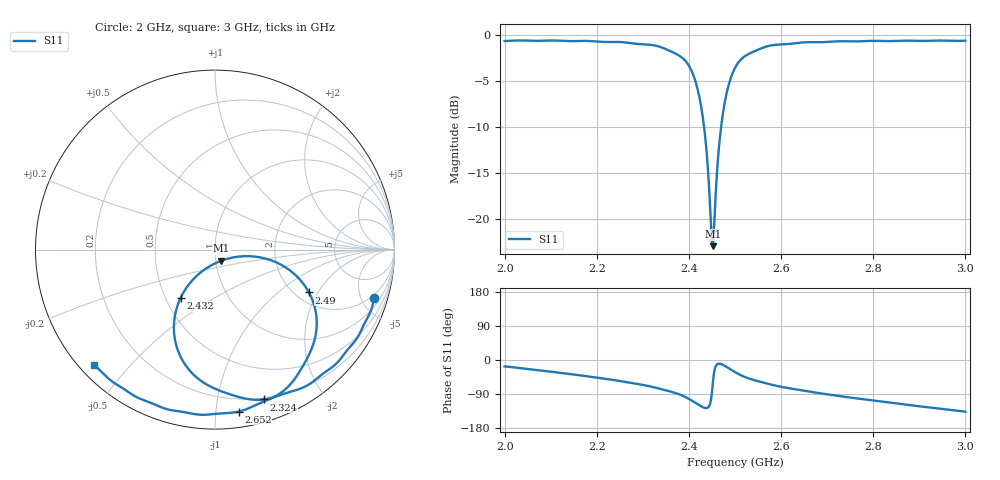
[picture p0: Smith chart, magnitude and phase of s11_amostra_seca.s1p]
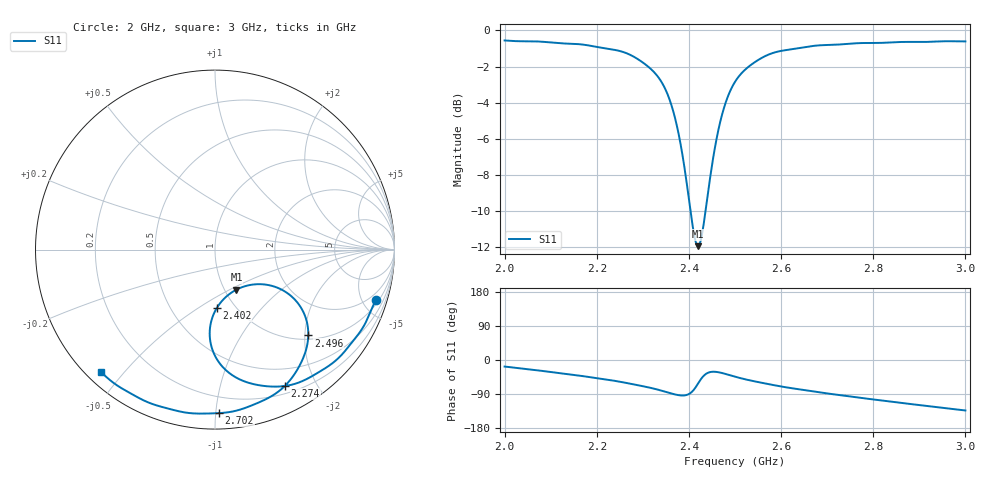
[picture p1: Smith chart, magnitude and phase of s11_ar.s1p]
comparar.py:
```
"""Compara o S11 medido no VNA com o simulado.

Uso (no openEMS Lab ou em qualquer Python com numpy e matplotlib):

    python comparar.py ar.s1p                          # etapa 1: antena no ar
    python comparar.py --amostra seca.s1p              # etapa 2: sobre a amostra seca
    python comparar.py --umidade seca.s1p umida.s1p    # estima a água na amostra úmida

O script lê arquivos Touchstone de 1 porta (.s1p) em qualquer formato (RI, MA ou DB;
Hz, kHz, MHz ou GHz), mostra a ressonância, o |S11| mínimo e a faixa de -10 dB de
cada curva e grava o gráfico comparar.png na pasta atual.

Na etapa 1, ele também estima a permissividade do FR-4 da sua placa pela diferença
de frequência: a ressonância do patch varia com 1/raiz(er), então
er_placa ~ er_sim * (f_sim / f_medida)^2. A conta vale se as dimensões estiverem certas.

Com --umidade, a referência é a SUA medição da amostra seca, e não a simulação. O
deslocamento medido (úmida menos seca) entra na curva de calibração simulada
(resultados/calibracao_umidade.csv) e dá a fração de água. Como as duas medições usam
a mesma placa, o erro do er do FR-4 quase se cancela.
"""

import argparse
import csv
import sys
from pathlib import Path

import numpy as np

AQUI = Path(__file__).resolve().parent
RESULTADOS = AQUI / "resultados"
ER_SIMULADO = 4.4


def ler_s1p(arquivo):
    """Lê um Touchstone de 1 porta. Retorna (f em GHz, S11 complexo)."""
    escala = {"HZ": 1e-9, "KHZ": 1e-6, "MHZ": 1e-3, "GHZ": 1.0}
    unidade, formato = "GHZ", "MA"
    f, s = [], []
    for linha in Path(arquivo).read_text(encoding="utf-8", errors="replace").splitlines():
        linha = linha.split("!")[0].strip()
        if not linha:
            continue
        if linha.startswith("#"):
            for p in linha[1:].upper().split():
                if p in escala:
                    unidade = p
                elif p in ("RI", "MA", "DB"):
                    formato = p
            continue
        v = [float(x) for x in linha.split()[:3]]
        if len(v) < 3:
            continue
        f.append(v[0] * escala[unidade])
        if formato == "RI":
            s.append(complex(v[1], v[2]))
        else:
            mod = 10 ** (v[1] / 20) if formato == "DB" else v[1]
            s.append(mod * np.exp(1j * np.deg2rad(v[2])))
    if not f:
        raise ValueError(f"{arquivo}: nenhum ponto lido. É um arquivo .s1p?")
    return np.array(f), np.array(s)


def analisar(f, s11):
    """Ressonância (GHz), |S11| mínimo (dB) e faixa de -10 dB (GHz) ou None."""
    db = 20 * np.log10(np.abs(s11))
    i = int(np.argmin(db))
    fres = f[i]
    if 0 < i < len(db) - 1:  # parábola pelos três pontos em volta do mínimo
        a, b, c = db[i - 1], db[i], db[i + 1]
        if a - 2 * b + c > 0:
            fres = f[i] + 0.5 * (a - c) / (a - 2 * b + c) * (f[i + 1] - f[i])
    faixa = None
    if db[i] < -10:
        j1, j2 = i, i
        while j1 > 0 and db[j1 - 1] < -10:
            j1 -= 1
        while j2 < len(db) - 1 and db[j2 + 1] < -10:
            j2 += 1
        f1 = np.interp(-10, [db[j1], db[j1 - 1]], [f[j1], f[j1 - 1]]) if j1 > 0 else f[0]
        f2 = np.interp(-10, [db[j2], db[j2 + 1]], [f[j2], f[j2 + 1]]) if j2 < len(db) - 1 else f[-1]
        faixa = (float(f1), float(f2))
    return float(fres), float(db[i]), faixa


def texto(nome, fres, smin, faixa):
    largura = f"{(faixa[1] - faixa[0]) * 1e3:.0f} MHz ({faixa[0]:.3f} a {faixa[1]:.3f} GHz)" if faixa \
        else "não chega a -10 dB"
    return f"{nome:>24}: ressonância {fres:.3f} GHz, |S11| mínimo {smin:.1f} dB, faixa -10 dB: {largura}"


def ler_calibracao():
    with open(RESULTADOS / "calibracao_umidade.csv", encoding="utf-8") as fh:
        linhas = list(csv.DictReader(fh))
    agua = np.array([float(r["agua_pct_volume"]) for r in linhas])
    desloc = np.array([float(r["delta_f0_MHz"]) for r in linhas])
    return agua, desloc


def main(argv):
    import matplotlib
    if not hasattr(sys, "ps1"):
        matplotlib.use("Agg")
    import matplotlib.pyplot as plt

    ap = argparse.ArgumentParser(description="Compara o S11 medido com o simulado.")
    modo = ap.add_mutually_exclusive_group()
    modo.add_argument("--amostra", action="store_true",
                      help="compara com a simulação sobre a amostra seca")
    modo.add_argument("--umidade", action="store_true",
                      help="o primeiro arquivo é a amostra seca; estima a água nos outros")
    ap.add_argument("arquivos", nargs="+", help="arquivos .s1p medidos")
    args = ap.parse_args(argv)

    fig, ax = plt.subplots(figsize=(8, 4.8))
    if args.umidade:
        if len(args.arquivos) < 2:
            ap.error("--umidade precisa da amostra seca e de pelo menos uma amostra úmida")
        agua, desloc = ler_calibracao()
        f, s = ler_s1p(args.arquivos[0])
        f_seca, smin, faixa = analisar(f, s)
        print(texto("seca (referência)", f_seca, smin, faixa))
        ax.plot(f, 20 * np.log10(np.abs(s)), "k", lw=2, label=f"seca: {Path(args.arquivos[0]).stem}")
        for arquivo in args.arquivos[1:]:
            f, s = ler_s1p(arquivo)
            fres, smin, faixa = analisar(f, s)
            nome = Path(arquivo).stem
            print(texto(nome, fres, smin, faixa))
            d = 1e3 * (fres - f_seca)
            # a curva simulada desce com a água; np.interp precisa de x crescente
            if d > 0 or d < desloc.min():
                estimativa = "fora da faixa simulada (0 a {:g} %)".format(agua.max())
            else:
                estimativa = f"cerca de {np.interp(d, desloc[::-1], agua[::-1]):.1f} % de água (volume)"
            print(f"{'':>24}  deslocamento {d:+.0f} MHz -> {estimativa}")
            ax.plot(f, 20 * np.log10(np.abs(s)), lw=1.5, label=f"medido: {nome}")
        ax.set_xlim(f[0], f[-1])
        titulo = "S11 medido: amostra seca e úmida"
    else:
        sim = RESULTADOS / ("s11_amostra_seca.s1p" if args.amostra else "s11_ar.s1p")
        fs, ss = ler_s1p(sim)
        fres_sim, smin, faixa = analisar(fs, ss)
        print(texto("simulado", fres_sim, smin, faixa))
        ax.plot(fs, 20 * np.log10(np.abs(ss)), "k", lw=2, label="simulado")
        for arquivo in args.arquivos:
            f, s = ler_s1p(arquivo)
            fres, smin, faixa = analisar(f, s)
            nome = Path(arquivo).stem
            print(texto(nome, fres, smin, faixa))
            linha = (f"{'':>24}  diferença {1e3 * (fres - fres_sim):+.0f} MHz "
                     f"({100 * (fres / fres_sim - 1):+.1f} %)")
            if not args.amostra:
                linha += f"; er estimado do FR-4: {ER_SIMULADO * (fres_sim / fres) ** 2:.2f}"
            print(linha)
            ax.plot(f, 20 * np.log10(np.abs(s)), lw=1.5, label=f"medido: {nome}")
        ax.set_xlim(fs[0], fs[-1])
        titulo = "S11 sobre a amostra seca: medido x simulado" if args.amostra \
            else "S11 no ar: medido x simulado"

    ax.axhline(-10, color="r", lw=0.8, ls=":")
    ax.set_xlabel("frequência (GHz)")
    ax.set_ylabel("|S11| (dB)")
    ax.grid(alpha=0.3)
    ax.legend(fontsize=9)
    ax.set_title(titulo)
    fig.tight_layout()
    fig.savefig("comparar.png", dpi=150)
    print("\nGráfico gravado em comparar.png")
    return 0


if __name__ == "__main__":
    sys.exit(main(sys.argv[1:]))
```
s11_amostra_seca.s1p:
! S11 simulado (openEMS) da antena patch_2g45: amostra: 10 mm de polimero (er = 4, tand = 0.01) com 0 % de agua -> er = 4.00, tand = 0.010; gap 3 mm
! referencia: borda da placa (entrada do SMA)
# Hz S RI R 50
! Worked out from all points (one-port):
!   501 points, 2 GHz to 3 GHz, reference 50 ohm
!   lowest |S11| = -22.9 dB at 2.452 GHz (marker M1), VSWR 1.15, Z = 53.3 - j6.6 ohm
!   |S11| at or under -10 dB: 2.433 GHz to 2.47 GHz (36.91 MHz wide, 1.51 % of centre)
!   S11 on the Smith chart (normalised r, x): 2 GHz: 1.67, -6.34; 2.324 GHz: 0.19, -1.36; 2.432 GHz: 0.60, -0.36; 2.49 GHz: 2.36, -1.68; 2.652 GHz: 0.11, -1.15; 3 GHz: 0.04, -0.40
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2e9  0.887 -0.2679
2.174e9  0.6874 -0.6234
2.324e9  0.2726 -0.835
2.334e9  0.2242 -0.8368
2.392e9  -0.0948 -0.7184
2.432e9  -0.1915 -0.2687
2.452e9  0.0361 -0.0616
2.47e9  0.3138 -0.0601
2.49e9  0.5234 -0.2385
2.556e9  0.4486 -0.7142
2.652e9  0.1317 -0.9027
2.668e9  0.08 -0.91
2.802e9  -0.2762 -0.8866
3e9  -0.673 -0.6423
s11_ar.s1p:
! S11 simulado (openEMS) da antena patch_2g45: antena no ar
! referencia: borda da placa (entrada do SMA)
# Hz S RI R 50
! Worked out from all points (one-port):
!   501 points, 2 GHz to 3 GHz, reference 50 ohm
!   lowest |S11| = -11.9 dB at 2.42 GHz (marker M1), VSWR 1.68, Z = 56.7 - j27 ohm
!   |S11| at or under -10 dB: 2.404 GHz to 2.436 GHz (32.47 MHz wide, 1.34 % of centre)
!   S11 on the Smith chart (normalised r, x): 2 GHz: 1.36, -6.29; 2.274 GHz: 0.28, -1.60; 2.402 GHz: 0.82, -0.60; 2.496 GHz: 1.09, -2.08; 2.702 GHz: 0.09, -1.02; 3 GHz: 0.04, -0.43
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2e9  0.8955 -0.2787
2.154e9  0.7047 -0.5873
2.274e9  0.3899 -0.7599
2.334e9  0.1451 -0.7265
2.374e9  -0.0189 -0.5434
2.402e9  0.00931 -0.3267
2.42e9  0.1197 -0.223
2.45e9  0.3623 -0.2187
2.496e9  0.5198 -0.4781
2.574e9  0.3767 -0.7714
2.668e9  0.1169 -0.8978
2.702e9  0.0228 -0.9111
2.848e9  -0.335 -0.8649
3e9  -0.6378 -0.6799
